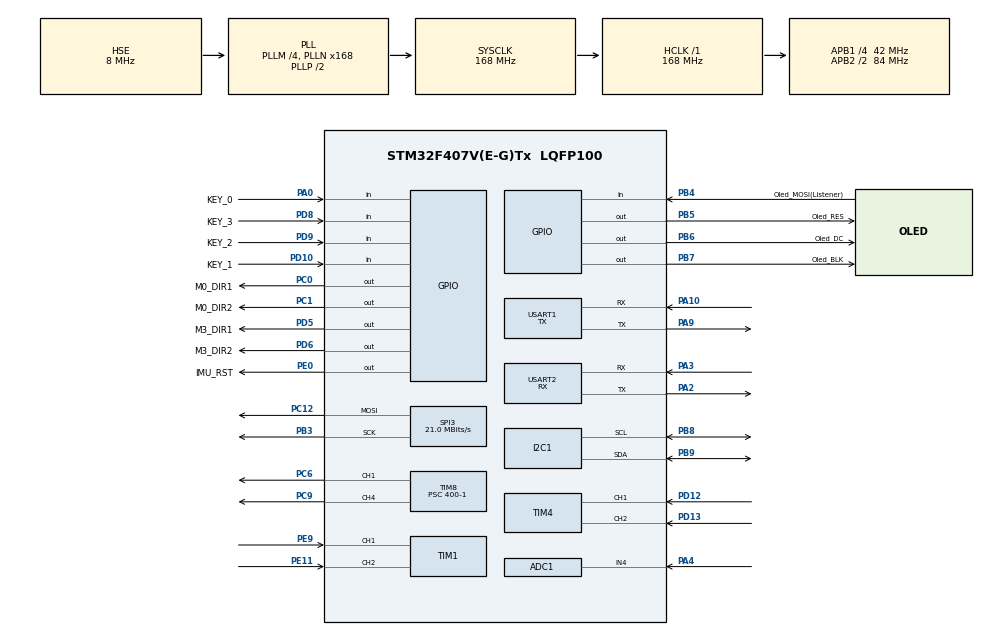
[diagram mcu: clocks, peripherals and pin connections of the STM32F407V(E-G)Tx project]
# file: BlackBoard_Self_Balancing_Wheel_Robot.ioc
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ADC1.Channel-3\#ChannelRegularConversion=ADC_CHANNEL_4
ADC1.ClockPrescaler=ADC_CLOCK_SYNC_PCLK_DIV6
ADC1.ContinuousConvMode=ENABLE
ADC1.NbrOfConversionFlag=1
ADC1.Rank-3\#ChannelRegularConversion=1
ADC1.SamplingTime-3\#ChannelRegularConversion=ADC_SAMPLETIME_84CYCLES
ADC1.master=1
Dma.Request0=USART1_TX
Dma.Request1=SPI3_TX
Dma.Request2=USART2_RX
Dma.SPI3_TX.1.Direction=DMA_MEMORY_TO_PERIPH
Dma.SPI3_TX.1.FIFOMode=DMA_FIFOMODE_DISABLE
Dma.SPI3_TX.1.Instance=DMA1_Stream7
Dma.SPI3_TX.1.MemDataAlignment=DMA_MDATAALIGN_BYTE
Dma.SPI3_TX.1.MemInc=DMA_MINC_ENABLE
Dma.SPI3_TX.1.Mode=DMA_NORMAL
Dma.SPI3_TX.1.PeriphDataAlignment=DMA_PDATAALIGN_BYTE
Dma.SPI3_TX.1.PeriphInc=DMA_PINC_DISABLE
Dma.SPI3_TX.1.Priority=DMA_PRIORITY_MEDIUM
Dma.USART1_TX.0.Direction=DMA_MEMORY_TO_PERIPH
Dma.USART1_TX.0.FIFOMode=DMA_FIFOMODE_DISABLE
Dma.USART1_TX.0.Instance=DMA2_Stream7
Dma.USART1_TX.0.MemDataAlignment=DMA_MDATAALIGN_BYTE
Dma.USART1_TX.0.MemInc=DMA_MINC_ENABLE
Dma.USART1_TX.0.Mode=DMA_NORMAL
Dma.USART1_TX.0.PeriphDataAlignment=DMA_PDATAALIGN_BYTE
Dma.USART1_TX.0.PeriphInc=DMA_PINC_DISABLE
Dma.USART1_TX.0.Priority=DMA_PRIORITY_MEDIUM
Dma.USART2_RX.2.Direction=DMA_PERIPH_TO_MEMORY
Dma.USART2_RX.2.FIFOMode=DMA_FIFOMODE_DISABLE
Dma.USART2_RX.2.Instance=DMA1_Stream5
Dma.USART2_RX.2.MemDataAlignment=DMA_MDATAALIGN_BYTE
Dma.USART2_RX.2.MemInc=DMA_MINC_ENABLE
Dma.USART2_RX.2.Mode=DMA_NORMAL
Dma.USART2_RX.2.PeriphDataAlignment=DMA_PDATAALIGN_BYTE
Dma.USART2_RX.2.PeriphInc=DMA_PINC_DISABLE
Dma.USART2_RX.2.Priority=DMA_PRIORITY_MEDIUM
FREERTOS.Mutexes01=motorDataMutex,Dynamic,NULL,Depleted;EulerAngleMutex,Dynamic,NULL,Depleted;PIDValueMutex,Dynamic,NULL,Available
FREERTOS.Tasks01=EncoderTask,32,128,StartEncoderTask,Default,NULL,Dynamic,NULL,NULL;MotorTask,32,128,StartMotorTask,Default,NULL,Dynamic,NULL,NULL;ControllerTask,32,256,StartControllerTask,Default,NULL,Dynamic,NULL,NULL;OledTask,24,1024,StartOledTask,Default,NULL,Dynamic,NULL,NULL;PIDTask,32,256,StartPIDTask,Default,NULL,Dynamic,NULL,NULL;IMUTask,32,512,StartIMUTask,Default,NULL,Dynamic,NULL,NULL
FREERTOS.configENABLE_FPU=1
FREERTOS.configRECORD_STACK_HIGH_ADDRESS=1
FREERTOS.configUSE_NEWLIB_REENTRANT=1
FREERTOS.configUSE_STATS_FORMATTING_FUNCTIONS=1
I2C1.I2C_Mode=I2C_Fast
Mcu.Family=STM32F4
Mcu.Name=STM32F407V(E-G)Tx
Mcu.Package=LQFP100
NVIC.DMA1_Stream5_IRQn=true\:5\:0\:false\:false\:true\:true\:false\:true\:true
NVIC.DMA1_Stream7_IRQn=true\:5\:0\:false\:false\:true\:false\:false\:true\:true
NVIC.DMA2_Stream7_IRQn=true\:5\:0\:false\:false\:true\:true\:false\:true\:true
NVIC.PriorityGroup=NVIC_PRIORITYGROUP_4
NVIC.TIM6_DAC_IRQn=true\:15\:0\:false\:false\:true\:false\:false\:true\:true
NVIC.TimeBase=TIM6_DAC_IRQn
NVIC.TimeBaseIP=TIM6
NVIC.USART1_IRQn=true\:5\:0\:false\:false\:true\:true\:true\:true\:true
NVIC.USART2_IRQn=true\:5\:0\:false\:false\:true\:true\:true\:true\:true
PA0-WKUP.GPIO_Label=KEY_0
PA0-WKUP.GPIO_PuPd=GPIO_PULLDOWN
PA0-WKUP.Signal=GPIO_Input
PA10.Mode=Asynchronous
PA10.Signal=USART1_RX
PA13.Mode=Serial_Wire
PA13.Signal=SYS_JTMS-SWDIO
PA14.Mode=Serial_Wire
PA14.Signal=SYS_JTCK-SWCLK
PA2.Mode=Asynchronous
PA2.Signal=USART2_TX
PA3.Mode=Asynchronous
PA3.Signal=USART2_RX
PA4.Signal=ADCx_IN4
PA9.Mode=Asynchronous
PA9.Signal=USART1_TX
PB3.Mode=TX_Only_Simplex_Unidirect_Master
PB3.Signal=SPI3_SCK
PB4.GPIO_Label=Oled_MOSI(Listener)
PB4.Signal=GPIO_Input
PB5.GPIO_Label=Oled_RES
PB5.Signal=GPIO_Output
PB6.GPIO_Label=Oled_DC
PB6.Signal=GPIO_Output
PB7.GPIO_Label=Oled_BLK
PB7.PinState=GPIO_PIN_SET
PB7.Signal=GPIO_Output
PB8.Mode=I2C
PB8.Signal=I2C1_SCL
PB9.Mode=I2C
PB9.Signal=I2C1_SDA
PC0.GPIO_Label=M0_DIR1
PC0.Signal=GPIO_Output
PC1.GPIO_Label=M0_DIR2
PC1.Signal=GPIO_Output
PC12.Mode=TX_Only_Simplex_Unidirect_Master
PC12.Signal=SPI3_MOSI
PC6.Signal=S_TIM8_CH1
PC9.Signal=S_TIM8_CH4
PD10.GPIO_Label=KEY_1
PD10.GPIO_PuPd=GPIO_PULLUP
PD10.Signal=GPIO_Input
PD12.Signal=S_TIM4_CH1
PD13.Signal=S_TIM4_CH2
PD5.GPIO_Label=M3_DIR1
PD5.Signal=GPIO_Output
PD6.GPIO_Label=M3_DIR2
PD6.Signal=GPIO_Output
PD8.GPIO_Label=KEY_3
PD8.GPIO_PuPd=GPIO_PULLUP
PD8.Signal=GPIO_Input
PD9.GPIO_Label=KEY_2
PD9.GPIO_PuPd=GPIO_PULLUP
PD9.Signal=GPIO_Input
PE0.GPIO_Label=IMU_RST
PE0.Signal=GPIO_Output
PE11.Signal=S_TIM1_CH2
PE9.Signal=S_TIM1_CH1
PH0-OSC_IN.Mode=HSE-External-Oscillator
PH0-OSC_IN.Signal=RCC_OSC_IN
PH1-OSC_OUT.Mode=HSE-External-Oscillator
PH1-OSC_OUT.Signal=RCC_OSC_OUT
ProjectManager.HeapSize=0x200
ProjectManager.StackSize=0x400
ProjectManager.TargetToolchain=STM32CubeIDE
RCC.48MHZClocksFreq_Value=84000000
RCC.AHBFreq_Value=168000000
RCC.APB1CLKDivider=RCC_HCLK_DIV4
RCC.APB1Freq_Value=42000000
RCC.APB1TimFreq_Value=84000000
RCC.APB2CLKDivider=RCC_HCLK_DIV2
RCC.APB2Freq_Value=84000000
RCC.APB2TimFreq_Value=168000000
RCC.CortexFreq_Value=168000000
RCC.HCLKFreq_Value=168000000
RCC.HSE_VALUE=8000000
RCC.HSI_VALUE=16000000
RCC.LSE_VALUE=32768
RCC.PLLM=4
RCC.PLLN=168
RCC.PLLSourceVirtual=RCC_PLLSOURCE_HSE
RCC.SYSCLKFreq_VALUE=168000000
RCC.SYSCLKSource=RCC_SYSCLKSOURCE_PLLCLK
RCC.VCOOutputFreq_Value=336000000
SH.ADCx_IN4.0=ADC1_IN4,IN4
SH.S_TIM1_CH1.0=TIM1_CH1,Encoder_Interface
SH.S_TIM1_CH2.0=TIM1_CH2,Encoder_Interface
SH.S_TIM4_CH1.0=TIM4_CH1,Encoder_Interface
SH.S_TIM4_CH2.0=TIM4_CH2,Encoder_Interface
SH.S_TIM8_CH1.0=TIM8_CH1,PWM Generation1 CH1
SH.S_TIM8_CH4.0=TIM8_CH4,PWM Generation4 CH4
SPI3.BaudRatePrescaler=SPI_BAUDRATEPRESCALER_2
SPI3.CLKPolarity=SPI_POLARITY_HIGH
SPI3.CalculateBaudRate=21.0 MBits/s
SPI3.Direction=SPI_DIRECTION_2LINES
SPI3.Mode=SPI_MODE_MASTER
SPI3.VirtualType=VM_MASTER
TIM1.EncoderMode=TIM_ENCODERMODE_TI12
TIM4.EncoderMode=TIM_ENCODERMODE_TI12
TIM8.Channel-PWM\ Generation1\ CH1=TIM_CHANNEL_1
TIM8.Channel-PWM\ Generation4\ CH4=TIM_CHANNEL_4
TIM8.Period=1000-1
TIM8.Prescaler=400-1
USART1.Mode=MODE_TX
USART1.VirtualMode=VM_ASYNC
USART2.Mode=MODE_RX
USART2.VirtualMode=VM_ASYNC
VP_FREERTOS_VS_CMSIS_V2.Mode=CMSIS_V2
VP_SYS_VS_tim6.Mode=TIM6
VP_TIM8_VS_ClockSourceINT.Mode=Internal
board=custom

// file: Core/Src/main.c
/* USER CODE BEGIN Header */
/**
  ******************************************************************************
  * @file           : main.c
  * @brief          : Main program body
  ******************************************************************************
  * @attention
  *
  * Copyright (c) 2025 STMicroelectronics.
  * All rights reserved.
  *
  * This software is licensed under terms that can be found in the LICENSE file
  * in the root directory of this software component.
  * If no LICENSE file comes with this software, it is provided AS-IS.
  *
  ******************************************************************************
  */
/* USER CODE END Header */
#include "main.h"
#include "cmsis_os.h"
#include "adc.h"
#include "dma.h"
#include "i2c.h"
#include "spi.h"
#include "tim.h"
#include "usart.h"
#include "gpio.h"

/* USER CODE BEGIN Includes */

#include "uart_handler.h"
#include "controller_input.h"
#include "motor.h"
#include "encoder.h"
//#include "oled.h"
#include "st7789.h"
#include "bno08x.h"

/* USER CODE END Includes */

/* USER CODE BEGIN PM */
volatile uint8_t BNO_Ready = 0;
/* USER CODE END PM */

void SystemClock_Config(void);
void MX_FREERTOS_Init(void);

int main(void)
{

  /* MCU Configuration--------------------------------------------------------*/

  /* Reset of all peripherals, Initializes the Flash interface and the Systick. */
  HAL_Init();

  /* Configure the system clock */
  SystemClock_Config();

  /* Initialize all configured peripherals */
  MX_GPIO_Init();
  MX_DMA_Init();
  MX_TIM1_Init();
  MX_TIM4_Init();
  MX_TIM8_Init();
  MX_USART1_UART_Init();
  MX_SPI3_Init();
  MX_USART2_UART_Init();
  MX_I2C1_Init();
  MX_ADC1_Init();
  /* USER CODE BEGIN 2 */

  UART_Init(); // Initialize uart handler
  motor_INIT();
  encoder_INIT();
//  OLED_Init();
  ST7789_Init();
  // BNO085_Init();
  I2C_Init(); // BNO08X Init
  /* USER CODE END 2 */

  /* Init scheduler */
  osKernelInitialize();

  /* Call init function for freertos objects (in cmsis_os2.c) */
  MX_FREERTOS_Init();

  /* Start scheduler */
  osKernelStart();

  /* We should never get here as control is now taken by the scheduler */

  /* Infinite loop */
  while (1)
  {

    /* USER CODE BEGIN 3 */
	  osDelay(1000);
  }
  /* USER CODE END 3 */
}

void SystemClock_Config(void)
{
  RCC_OscInitTypeDef RCC_OscInitStruct = {0};
  RCC_ClkInitTypeDef RCC_ClkInitStruct = {0};

  /** Configure the main internal regulator output voltage
  */
  __HAL_RCC_PWR_CLK_ENABLE();
  __HAL_PWR_VOLTAGESCALING_CONFIG(PWR_REGULATOR_VOLTAGE_SCALE1);

  /** Initializes the RCC Oscillators according to the specified parameters
  * in the RCC_OscInitTypeDef structure.
  */
  RCC_OscInitStruct.OscillatorType = RCC_OSCILLATORTYPE_HSE;
  RCC_OscInitStruct.HSEState = RCC_HSE_ON;
  RCC_OscInitStruct.PLL.PLLState = RCC_PLL_ON;
  RCC_OscInitStruct.PLL.PLLSource = RCC_PLLSOURCE_HSE;
  RCC_OscInitStruct.PLL.PLLM = 4;
  RCC_OscInitStruct.PLL.PLLN = 168;
  RCC_OscInitStruct.PLL.PLLP = RCC_PLLP_DIV2;
  RCC_OscInitStruct.PLL.PLLQ = 4;
  if (HAL_RCC_OscConfig(&RCC_OscInitStruct) != HAL_OK)
  {
    Error_Handler();
  }

  /** Initializes the CPU, AHB and APB buses clocks
  */
  RCC_ClkInitStruct.ClockType = RCC_CLOCKTYPE_HCLK|RCC_CLOCKTYPE_SYSCLK
                              |RCC_CLOCKTYPE_PCLK1|RCC_CLOCKTYPE_PCLK2;
  RCC_ClkInitStruct.SYSCLKSource = RCC_SYSCLKSOURCE_PLLCLK;
  RCC_ClkInitStruct.AHBCLKDivider = RCC_SYSCLK_DIV1;
  RCC_ClkInitStruct.APB1CLKDivider = RCC_HCLK_DIV4;
  RCC_ClkInitStruct.APB2CLKDivider = RCC_HCLK_DIV2;

  if (HAL_RCC_ClockConfig(&RCC_ClkInitStruct, FLASH_LATENCY_5) != HAL_OK)
  {
    Error_Handler();
  }
}

void HAL_TIM_PeriodElapsedCallback(TIM_HandleTypeDef *htim)
{
  if (htim->Instance == TIM6)
  {
    HAL_IncTick();
  }
}

void Error_Handler(void)
{
  __disable_irq();
  while (1)
  {
  }
}

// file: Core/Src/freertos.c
/* USER CODE BEGIN Header */
/**
  ******************************************************************************
  * File Name          : freertos.c
  * Description        : Code for freertos applications
  ******************************************************************************
  * @attention
  *
  * Copyright (c) 2025 STMicroelectronics.
  * All rights reserved.
  *
  * This software is licensed under terms that can be found in the LICENSE file
  * in the root directory of this software component.
  * If no LICENSE file comes with this software, it is provided AS-IS.
  *
  ******************************************************************************
  */
/* USER CODE END Header */

#include "FreeRTOS.h"
#include "task.h"
#include "main.h"
#include "cmsis_os.h"

/* USER CODE BEGIN Includes */

#include "uart_handler.h"
#include "usart.h"
#include "controller_input.h"
#include "motor.h"
#include "encoder.h"
#include "kinematics.h"
//#include "oled.h"
#include "st7789.h"
#include "pid.h"
#include "bno08x.h"
#include "menu.h"
#include "key.h"
#include "adc.h"
/* USER CODE END Includes */

/* Definitions for EncoderTask */
osThreadId_t EncoderTaskHandle;
const osThreadAttr_t EncoderTask_attributes = {
  .name = "EncoderTask",
  .stack_size = 128 * 4,
  .priority = (osPriority_t) osPriorityAboveNormal,
};
/* Definitions for MotorTask */
osThreadId_t MotorTaskHandle;
const osThreadAttr_t MotorTask_attributes = {
  .name = "MotorTask",
  .stack_size = 128 * 4,
  .priority = (osPriority_t) osPriorityAboveNormal,
};
/* Definitions for ControllerTask */
osThreadId_t ControllerTaskHandle;
const osThreadAttr_t ControllerTask_attributes = {
  .name = "ControllerTask",
  .stack_size = 256 * 4,
  .priority = (osPriority_t) osPriorityAboveNormal,
};
/* Definitions for OledTask */
osThreadId_t OledTaskHandle;
const osThreadAttr_t OledTask_attributes = {
  .name = "OledTask",
  .stack_size = 1024 * 4,
  .priority = (osPriority_t) osPriorityNormal,
};
/* Definitions for PIDTask */
osThreadId_t PIDTaskHandle;
const osThreadAttr_t PIDTask_attributes = {
  .name = "PIDTask",
  .stack_size = 256 * 4,
  .priority = (osPriority_t) osPriorityAboveNormal,
};
/* Definitions for IMUTask */
osThreadId_t IMUTaskHandle;
const osThreadAttr_t IMUTask_attributes = {
  .name = "IMUTask",
  .stack_size = 512 * 4,
  .priority = (osPriority_t) osPriorityAboveNormal,
};
/* Definitions for motorDataMutex */
osMutexId_t motorDataMutexHandle;
const osMutexAttr_t motorDataMutex_attributes = {
  .name = "motorDataMutex"
};
/* Definitions for EulerAngleMutex */
osMutexId_t EulerAngleMutexHandle;
const osMutexAttr_t EulerAngleMutex_attributes = {
  .name = "EulerAngleMutex"
};
/* Definitions for PIDValueMutex */
osMutexId_t PIDValueMutexHandle;
const osMutexAttr_t PIDValueMutex_attributes = {
  .name = "PIDValueMutex"
};

void StartEncoderTask(void *argument);
void StartMotorTask(void *argument);
void StartControllerTask(void *argument);
void StartOledTask(void *argument);
void StartPIDTask(void *argument);
void StartIMUTask(void *argument);

void MX_FREERTOS_Init(void); /* (MISRA C 2004 rule 8.1) */

void MX_FREERTOS_Init(void) {
  /* Create the mutex(es) */
  /* creation of motorDataMutex */
  motorDataMutexHandle = osMutexNew(&motorDataMutex_attributes);

  /* creation of EulerAngleMutex */
  EulerAngleMutexHandle = osMutexNew(&EulerAngleMutex_attributes);

  /* creation of PIDValueMutex */
  PIDValueMutexHandle = osMutexNew(&PIDValueMutex_attributes);

  /* Create the thread(s) */
  /* creation of EncoderTask */
  EncoderTaskHandle = osThreadNew(StartEncoderTask, NULL, &EncoderTask_attributes);

  /* creation of MotorTask */
  MotorTaskHandle = osThreadNew(StartMotorTask, NULL, &MotorTask_attributes);

  /* creation of ControllerTask */
  ControllerTaskHandle = osThreadNew(StartControllerTask, NULL, &ControllerTask_attributes);

  /* creation of OledTask */
  OledTaskHandle = osThreadNew(StartOledTask, NULL, &OledTask_attributes);

  /* creation of PIDTask */
  PIDTaskHandle = osThreadNew(StartPIDTask, NULL, &PIDTask_attributes);

  /* creation of IMUTask */
  IMUTaskHandle = osThreadNew(StartIMUTask, NULL, &IMUTask_attributes);

}

void StartEncoderTask(void *argument)
{
  /* USER CODE BEGIN StartEncoderTask */
	uint32_t previousWakeTime = osKernelGetTickCount();
//	EncoderCounts prev_counts = {0};
	const uint32_t delayTime = 10; // 10ms
  /* Infinite loop */
  for(;;)
  {
	  encoderRPMcalc();
	  previousWakeTime += delayTime;
	  osDelayUntil(previousWakeTime);
  }
  /* USER CODE END StartEncoderTask */
}

void StartMotorTask(void *argument)
{
  /* USER CODE BEGIN StartMotorTask */
	uint32_t previousWakeTime = osKernelGetTickCount();
	const uint32_t delayTime = 10; // 10ms period
	/* Infinite loop */
	for(;;)
	{
		controlMotor(motor, 2);
		previousWakeTime += delayTime;
		osDelayUntil(previousWakeTime);
	}
  /* USER CODE END StartMotorTask */
}

void StartControllerTask(void *argument)
{
  /* USER CODE BEGIN StartControllerTask */
	uint32_t previousWakeTime = osKernelGetTickCount();
	const uint32_t delayTime = 10;
  /* Infinite loop */
  for(;;)
  {
	  processGamepad();
	  previousWakeTime += delayTime;
	  osDelayUntil(previousWakeTime);
  }
  /* USER CODE END StartControllerTask */
}

void StartOledTask(void *argument)
{
  /* USER CODE BEGIN StartOledTask */
	uint32_t previousWakeTime = osKernelGetTickCount();
	const uint32_t delayTime = 10;

	Motors localmotor[2] = {0};
	char MessageMotor0[40], MessageMotor1[40];

	BNO_Data local_bno = {0};
	Desired_Data local_desired_data = {0};
	char MessageRoll[40], MessagePitch[40], MessageYaw[40], MessageQuatAccuracy[40];
	char MessageGyroY[40], MessageGyroZ[40], MessageDesiredPitch[40], MessageDesiredYaw[40];
	char MessageDesiredSpeed[40];

	// ADC: Variables for voltage calculation
	uint32_t raw_adc_value = 0;
	float calculated_voltage = 0.0f;
	char MessageVoltage[40];

	// screen rotation modify in st7789.h
  /* Infinite loop */
  for(;;)
  {
	  if(osMutexAcquire(motorDataMutexHandle, 2) == osOK) {
		  memcpy(localmotor, motor, sizeof(Motors) * 2);
	      osMutexRelease(motorDataMutexHandle);
	  }

	  if(osMutexAcquire(EulerAngleMutexHandle, 2) == osOK) {
	  	  memcpy(&local_bno, &bno_data, sizeof(BNO_Data));
	  	  memcpy(&local_desired_data, &desired_data, sizeof(Desired_Data));
	      osMutexRelease(EulerAngleMutexHandle);
	  }

  	// HAL_ADC_Start(&hadc1);
  	// if (HAL_ADC_PollForConversion(&hadc1, HAL_MAX_DELAY) == HAL_OK) // Poll with a 10ms timeout
  	// {
  	// 	raw_adc_value = HAL_ADC_GetValue(&hadc1);
  	// }

  	// --- Calculations & Formatting ---
  	// ADC: Calculate voltage from the raw ADC value
  	// calculated_voltage = ((float)raw_adc_value / 4095.0f) * 3.4f * 11.0f;
  	// calculated_voltage = raw_adc_value;
//	  sprintf(MessageMotor0, "M0:%4d  %4d  %3d",(int)localmotor[0].rpmDesired, (int)localmotor[0].rpmMeasured, (int)localmotor[0].pwm);
//	  sprintf(MessageMotor1, "M1:%4d  %4d  %3d",(int)localmotor[1].rpmDesired, (int)localmotor[1].rpmMeasured, (int)localmotor[1].pwm);
//	  sprintf(MessageMotor2, "M2:%4d  %4d  %3d",(int)localmotor[2].rpmDesired, (int)localmotor[2].rpmMeasured, (int)localmotor[2].pwm);
//	  sprintf(MessageMotor3, "M3:%4d  %4d  %3d",(int)localmotor[3].rpmDesired, (int)localmotor[3].rpmMeasured, (int)localmotor[3].pwm);

  	// space after every value so that no left decimal place that are not refresh
	sprintf(MessageMotor0, "ML:%4d  %5d ", (int)localmotor[0].rpmMeasured, (int)localmotor[0].pwm);
	sprintf(MessageMotor1, "MR:%4d  %5d ", (int)localmotor[1].rpmMeasured, (int)localmotor[1].pwm);
	// sprintf(MessageRoll,         "Roll:     %5.1f ", local_bno.roll);
  	sprintf(MessagePitch,        "Pitch:    %5.1f ", local_bno.pitch);
	sprintf(MessageYaw,          "Yaw:      %5.1f ", local_bno.yaw);
  	sprintf(MessageQuatAccuracy, "Accuracy: %2d ", local_bno.quat_accuracy);
  	sprintf(MessageGyroY,        "GyroY:    %5.1f ", local_bno.gyroY);
  	sprintf(MessageDesiredPitch,   "DesPitch: %5.1f ", local_desired_data.pitch);
  	sprintf(MessageGyroZ,        "GyroZ:    %5.1f ", local_bno.gyroZ);
  	sprintf(MessageDesiredYaw,   "DesYaw:   %5.1f ", local_desired_data.yaw);
  	sprintf(MessageDesiredSpeed, "DesSpeed: %4d ", local_desired_data.speed);
	// sprintf(MessageVoltage,    "Batt:    %3.2fV", calculated_voltage);
	// OLED_ShowString(0, 0, "    RPM1 RPM  PWM", OLED_7X12);
	//
	// OLED_ShowString(0, 12+3, MessageMotor0, OLED_7X12);
	// OLED_ShowString(0, 24+3, MessageMotor1, OLED_7X12);
	// OLED_ShowString(0, 36+3, MessageMotor2, OLED_7X12);
	// OLED_ShowString(0, 48+3, MessageMotor3, OLED_7X12);
	//
	// OLED_Update();
	ST7789_DrawRectangle(1,1,238,238,WHITE);
	ST7789_WriteString(10, 10, "    RPM    PWM", Font_11x18, WHITE, DARKBLUE);

	ST7789_WriteString(10, 10+20+5, MessageMotor0, Font_11x18, MAGENTA, DARKBLUE);
	ST7789_WriteString(10, 10+20*2+5, MessageMotor1, Font_11x18, YELLOW, DARKBLUE);

	// ST7789_WriteString(10, 10+20*4+10, MessageRoll, Font_11x18,BRRED , DARKBLUE);
  	ST7789_WriteString(10, 10+20*3+5, MessagePitch, Font_11x18, BROWN, DARKBLUE);
  	ST7789_WriteString(10, 10+20*4+5, MessageYaw, Font_11x18, GREEN, DARKBLUE);
  	ST7789_WriteString(10, 10+20*5+5, MessageQuatAccuracy, Font_11x18, LGREY, DARKBLUE);

  	ST7789_WriteString(10, 10+20*6+5, MessageGyroY, Font_11x18, WHITE, DARKBLUE);
  	ST7789_WriteString(10, 10+20*7+5, MessageDesiredPitch, Font_11x18, BRRED, DARKBLUE);

  	ST7789_WriteString(10, 10+20*8+5, MessageGyroZ, Font_11x18, WHITE, DARKBLUE);
  	ST7789_WriteString(10, 10+20*9+5, MessageDesiredYaw, Font_11x18, BRRED, DARKBLUE);
  	ST7789_WriteString(10, 10+20*10+5, MessageDesiredSpeed, Font_11x18, BRRED, DARKBLUE);
	// ST7789_WriteString(10, 10+20*9+10, MessageVoltage, Font_11x18, RED, DARKBLUE);

	uint8_t KeyNum = Key_GetNum();
	if (KeyNum > 0) {
	  ST7789_Fill_Color(BGCOLOUR);
	  mainMenu();
	}

	previousWakeTime += delayTime;
	osDelayUntil(previousWakeTime);
  }
  /* USER CODE END StartOledTask */
}

void StartPIDTask(void *argument)
{
  /* USER CODE BEGIN StartPIDTask */
	uint32_t previousWakeTime = osKernelGetTickCount();
	const uint32_t delayTime = 10;  // 10ms period (100Hz)

	/* Infinite loop */
	for(;;)
	{
		PID_Data_Refresh();
		PID_Speed();
		PID_Balancing();
		PID_Orientation();

		previousWakeTime += delayTime;
		osDelayUntil(previousWakeTime);
	}
  /* USER CODE END StartPIDTask */
}

void StartIMUTask(void *argument)
{
  /* USER CODE BEGIN StartIMUTask */

	float q0, q1, q2, q3;
	float roll, pitch, yaw;

	HAL_GPIO_WritePin(IMU_RST_GPIO_Port, IMU_RST_Pin, GPIO_PIN_RESET);
	osDelay(10);
	HAL_GPIO_WritePin(IMU_RST_GPIO_Port, IMU_RST_Pin, GPIO_PIN_SET);
	osDelay(190);
	// 重置传感器
	softReset();

	enableRotationVector(10);
	// enableGameRotationVector(100);
	// enableAccelerometer(100);
	// enableLinearAccelerometer(100);
	enableGyro(10);
	// enableMagnetometer(100);
	// enableStepCounter(100);
	// enableStabilityClassifier(100);

	// 开始校准（可选）
	calibrateAll();

	uint32_t previousWakeTime = osKernelGetTickCount();
	const uint32_t delayTime = 10;
  /* Infinite loop */
	for(;;)
	{
		while ( dataAvailable() ) //use "while" instead of "if"
		{
			q0 = getQuatReal();
			q1 = getQuatI();
			q2 = getQuatJ();
			q3 = getQuatK();

			roll = atan2( 2 * ( q0 * q1 + q2 * q3 ) ,  1- 2 * ( q1 * q1 + q2 * q2 ) ) * 57.295779515f;
			pitch = asin( 2 * ( q0 * q2 - q3 * q1 ) ) * 57.295779515f;
			yaw = atan2( 2 * ( q0 * q3 + q1 * q2 ) ,  1 - 2 * ( q2 * q2 + q3 * q3 ) ) * 57.295779515f;

		if(osMutexAcquire(EulerAngleMutexHandle, 2) == osOK) {
			bno_data.roll  = roll;
			bno_data.pitch = pitch;
			bno_data.yaw   = yaw;
			bno_data.quat_accuracy = getQuatAccuracy();
			// bno_data.gyroX = getGyroX();
			bno_data.gyroY = getGyroY();
			bno_data.gyroZ = getGyroZ();
			osMutexRelease(EulerAngleMutexHandle);
		}
	}
		previousWakeTime += delayTime;
		osDelayUntil(previousWakeTime);
	}
  /* USER CODE END StartIMUTask */
}
